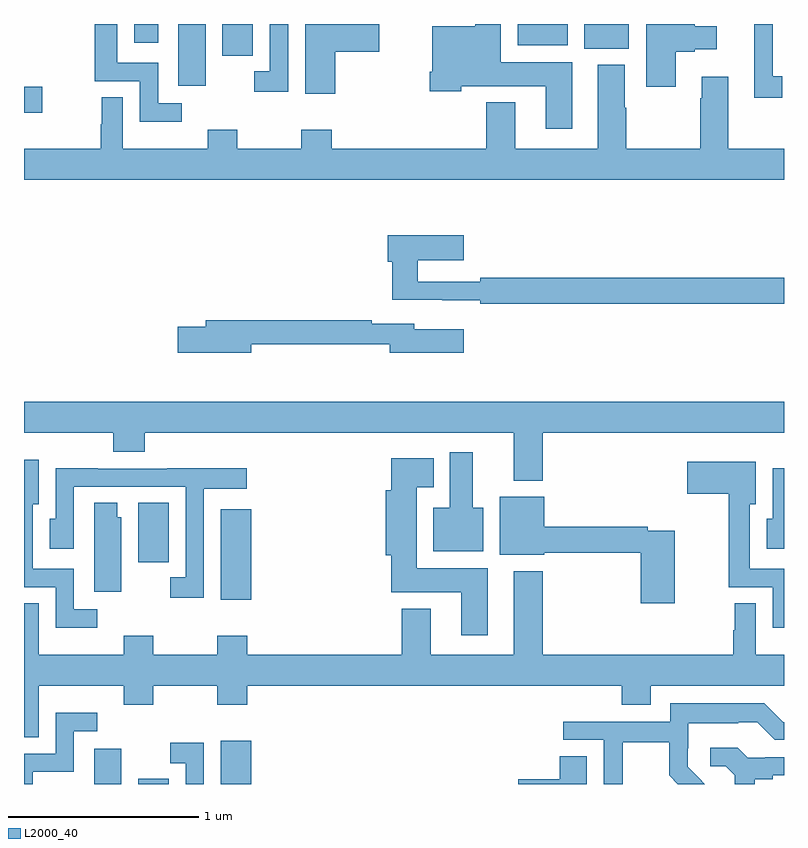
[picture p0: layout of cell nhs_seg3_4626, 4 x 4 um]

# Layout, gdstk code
import gdstk
lib = gdstk.Library(unit=1e-6, precision=1e-09)
def R(c, l, rs):  # rectangles x0, y0, x1, y1
    for r in rs: c.add(gdstk.rectangle(r[:2], r[2:], *l))
def P(c, l, *ps):  # polygons
    for p in ps: c.add(gdstk.Polygon(p, *l))
L2000_40 = (2000, 40)

nhs_seg3_4626 = lib.new_cell('nhs_seg3_4626')
R(nhs_seg3_4626, L2000_40, [(359.369,700.4,359.512,700.585), (359.6,700.4,359.761,700.428), (360.035,700.4,360.196,700.627), (360.035,701.37,360.196,701.845), (359.6,701.568,359.761,701.879), (359,703.934,359.095,704.069), (359.813,704.076,359.956,704.4), (360.044,704.232,360.205,704.4), (361.949,704.27,362.182,704.4), (361.598,704.288,361.861,704.4), (359.579,704.301,359.706,704.4)])
P(nhs_seg3_4626, L2000_40, [(360.638,704.255),(360.871,704.255),(360.871,704.4),(360.479,704.4),(360.479,704.034),(360.638,704.034)],
  [(359.83,703.983),(359.706,703.983),(359.706,704.196),(359.491,704.196),(359.491,704.4),(359.373,704.4),(359.373,704.1),(359.61,704.1),(359.61,703.886),(359.83,703.886)],
  [(361.885,704.2),(361.51,704.2),(361.51,704.4),(361.376,704.4),(361.376,704.389),(361.148,704.389),(361.148,704.149),(361.136,704.149),(361.136,704.045),(361.302,704.045),(361.302,704.072),(361.745,704.072),(361.745,703.848),(361.885,703.848)],
  [(360.39,704.4),(360.294,704.4),(360.294,704.151),(360.213,704.151),(360.213,704.043),(360.39,704.043)],
  [(362.992,704.126),(362.94,704.126),(362.94,704.4),(362.843,704.4),(362.843,704.013),(362.992,704.013)],
  [(362.431,704.255),(362.531,704.255),(362.531,704.267),(362.647,704.267),(362.647,704.389),(362.531,704.389),(362.531,704.4),(362.276,704.4),(362.276,704.07),(362.431,704.07)],
  [(363,703.744),(362.707,703.744),(362.707,704.122),(362.567,704.122),(362.567,704.009),(362.56,704.009),(362.56,703.744),(362.169,703.744),(362.169,703.959),(362.161,703.959),(362.161,704.185),(362.021,704.185),(362.021,703.744),(361.585,703.744),(361.585,703.987),(361.433,703.987),(361.433,703.744),(360.62,703.744),(360.62,703.843),(360.46,703.843),(360.46,703.744),(360.123,703.744),(360.123,703.843),(359.968,703.843),(359.968,703.744),(359.521,703.744),(359.521,704.015),(359.41,704.015),(359.41,703.872),(359.403,703.872),(359.403,703.744),(359,703.744),(359,703.58),(363,703.58)],
  [(363,703.064),(361.402,703.064),(361.402,703.044),(361.073,703.044),(361.073,703.157),(361.315,703.157),(361.315,703.287),(360.914,703.287),(360.914,703.15),(360.937,703.15),(360.937,702.948),(361.202,702.948),(361.202,702.947),(361.402,702.947),(361.402,702.928),(363,702.928)],
  [(360.196,702.714),(360.926,702.714),(360.926,702.671),(361.315,702.671),(361.315,702.793),(361.054,702.793),(361.054,702.822),(360.83,702.822),(360.83,702.842),(359.957,702.842),(359.957,702.806),(359.808,702.806),(359.808,702.671),(360.196,702.671)],
  [(361.73,702.248),(363,702.248),(363,702.412),(359,702.412),(359,702.248),(359.471,702.248),(359.471,702.149),(359.636,702.149),(359.636,702.248),(361.577,702.248),(361.577,701.996),(361.73,701.996)],
  [(361.417,701.854),(361.363,701.854),(361.363,702.145),(361.241,702.145),(361.241,701.854),(361.154,701.854),(361.154,701.624),(361.417,701.624)],
  [(361.441,701.536),(361.066,701.536),(361.066,701.963),(361.156,701.963),(361.156,702.115),(360.932,702.115),(360.932,701.947),(360.905,701.947),(360.905,701.603),(360.932,701.603),(360.932,701.408),(361.301,701.408),(361.301,701.184),(361.441,701.184)],
  [(359.386,701.319),(359.262,701.319),(359.262,701.532),(359.047,701.532),(359.047,701.873),(359.077,701.873),(359.077,702.106),(359,702.106),(359,701.436),(359.166,701.436),(359.166,701.222),(359.386,701.222)],
  [(363,701.532),(362.821,701.532),(362.821,701.873),(362.851,701.873),(362.851,702.097),(362.49,702.097),(362.49,701.927),(362.71,701.927),(362.71,701.436),(362.94,701.436),(362.94,701.222),(363,701.222)],
  [(359.946,701.954),(360.172,701.954),(360.172,702.062),(359.753,702.062),(359.753,702.06),(359.387,702.06),(359.387,702.062),(359.166,702.062),(359.166,701.796),(359.135,701.796),(359.135,701.637),(359.262,701.637),(359.262,701.964),(359.85,701.964),(359.85,701.487),(359.769,701.487),(359.769,701.379),(359.946,701.379)],
  [(363,702.062),(362.94,702.062),(362.94,701.796),(362.909,701.796),(362.909,701.637),(363,701.637)],
  [(362.424,701.733),(362.282,701.733),(362.282,701.753),(361.738,701.753),(361.738,701.911),(361.505,701.911),(361.505,701.606),(361.738,701.606),(361.738,701.617),(362.246,701.617),(362.246,701.352),(362.424,701.352)],
  [(359.512,701.805),(359.491,701.805),(359.491,701.879),(359.369,701.879),(359.369,701.412),(359.512,701.412)],
  [(362.147,700.817),(362.299,700.817),(362.299,700.916),(363,700.916),(363,701.08),(362.851,701.08),(362.851,701.351),(362.74,701.351),(362.74,701.208),(362.733,701.208),(362.733,701.08),(361.73,701.08),(361.73,701.521),(361.577,701.521),(361.577,701.08),(361.141,701.08),(361.141,701.323),(360.989,701.323),(360.989,701.08),(360.176,701.08),(360.176,701.179),(360.016,701.179),(360.016,701.08),(359.679,701.08),(359.679,701.179),(359.524,701.179),(359.524,701.08),(359.077,701.08),(359.077,701.351),(359,701.351),(359,700.645),(359.077,700.645),(359.077,700.916),(359.524,700.916),(359.524,700.817),(359.679,700.817),(359.679,700.916),(360.016,700.916),(360.016,700.817),(360.176,700.817),(360.176,700.916),(362.147,700.916)],
  [(362.151,700.62),(362.395,700.62),(362.395,700.445),(362.44,700.4),(362.582,700.4),(362.567,700.415),(362.568,700.416),(362.494,700.49),(362.494,700.587),(362.496,700.587),(362.496,700.721),(362.759,700.721),(362.759,700.725),(362.859,700.725),(362.952,700.632),(363,700.632),(363,700.725),(362.997,700.725),(362.897,700.825),(362.4,700.825),(362.4,700.728),(361.839,700.728),(361.839,700.632),(362.052,700.632),(362.052,700.4),(362.151,700.4)],
  [(359.047,700.464),(359.262,700.464),(359.262,700.677),(359.386,700.677),(359.386,700.774),(359.166,700.774),(359.166,700.56),(359,700.56),(359,700.4),(359.047,700.4)],
  [(359.946,700.618),(359.769,700.618),(359.769,700.509),(359.85,700.509),(359.85,700.4),(359.946,700.4)],
  [(362.845,700.424),(362.941,700.424),(362.941,700.446),(363,700.446),(363,700.542),(362.902,700.542),(362.902,700.539),(362.808,700.539),(362.756,700.591),(362.613,700.591),(362.613,700.494),(362.694,700.494),(362.741,700.447),(362.741,700.4),(362.845,700.4)],
  [(361.963,700.547),(361.82,700.547),(361.82,700.424),(361.602,700.424),(361.602,700.4),(361.963,700.4)])

lib.write_gds('nhs_seg3_4626.gds')
